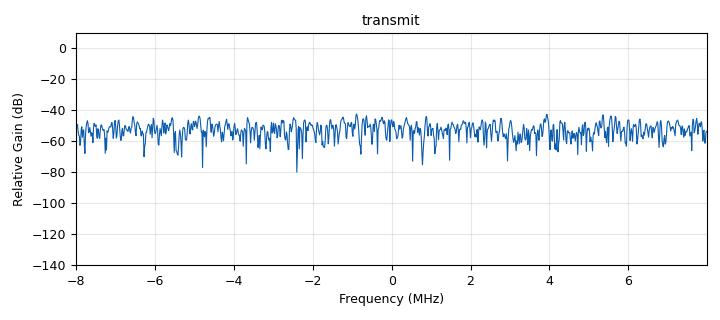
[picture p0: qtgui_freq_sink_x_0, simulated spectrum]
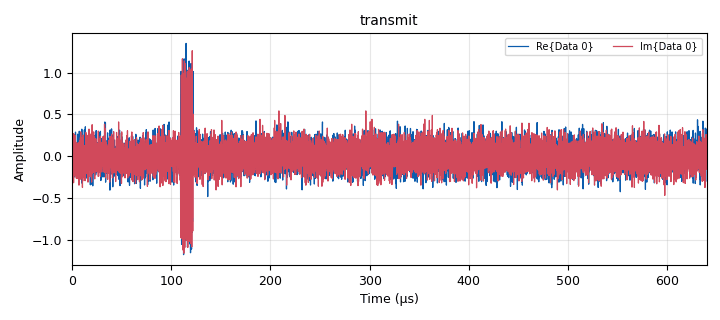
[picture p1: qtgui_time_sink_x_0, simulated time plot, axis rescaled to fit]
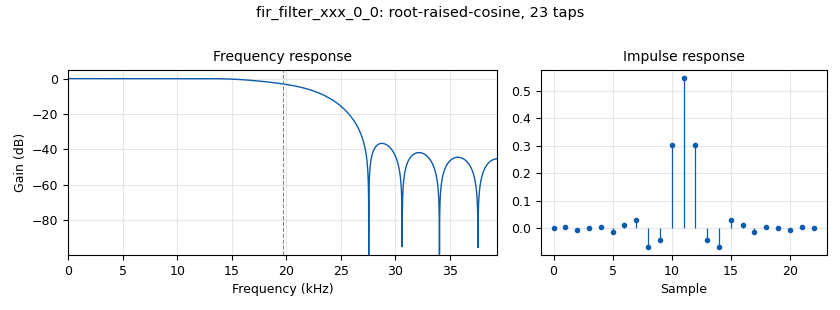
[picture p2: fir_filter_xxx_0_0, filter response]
options:
  parameters:
    author: zhouzinan
    generate_options: qt_gui
    id: mod_pulse_am
    output_language: python
    title: mod_pulse_am
  states: {}

blocks:
- name: RRC_0
  id: variable_rrc_filter_taps
  parameters:
    alpha: '0.35'
    gain: '1.0'
    ntaps: 11*sps
    samp_rate: 1/pw
    sym_rate: 1/pw/2
  states: {}
- name: SNR
  id: variable_qtgui_range
  parameters:
    gui_hint: 0,0
    start: '-5'
    step: '1'
    stop: '15'
    value: '15'
  states: {}
- name: carrier_freq
  id: variable
  parameters:
    value: 1e6
  states: {}
- name: device
  id: variable
  parameters:
    value: '"device_4"'
  states: {}
- name: gain_range
  id: variable_qtgui_range
  parameters:
    gui_hint: 3,0
    start: '0'
    step: '10'
    stop: '90'
    value: '40'
  states: {state: disabled}
- name: mod_freq
  id: variable
  parameters:
    value: 10e3
  states: {}
- name: noise_power
  id: variable
  parameters:
    value: signal_power/pow(10, SNR/10)
  states: {}
- name: pri
  id: variable_qtgui_range
  parameters:
    gui_hint: 1,0
    start: '0'
    step: '10e-6'
    stop: '2100e-6'
    value: '1050e-6'
  states: {}
- name: pw
  id: variable_qtgui_range
  parameters:
    gui_hint: 2,0
    start: '0'
    step: '1e-6'
    stop: '25.4e-6'
    value: '12.7e-6'
  states: {}
- name: rf_freq
  id: variable
  parameters:
    value: 330e6
  states: {}
- name: rf_freq_0
  id: variable
  parameters:
    value: 230e6
  states: {}
- name: rf_freq_1
  id: variable
  parameters:
    value: 430e6
  states: {}
- name: rf_slider
  id: variable_qtgui_range
  parameters:
    start: 230e6
    step: 100e6
    stop: 430e6
    value: 230e6
  states: {}
- name: samp_rate
  id: variable
  parameters:
    value: 16e6
  states: {}
- name: signal_power
  id: variable
  parameters:
    value: '0.5'
  states: {}
- name: sps
  id: variable
  parameters:
    value: '2'
  states: {}
- name: vary
  id: variable
  parameters:
    value: blocks.vector_source_f(np.hstack((np.zeros(int(pw*samp_rate)), np.zeros(int((pri-pw)*samp_rate)), np.ones(int(pw*samp_rate)), np.zeros(int((pri-pw)*samp_rate)), np.ones(int(pw*samp_rate))*2, np.zeros(int((pri-pw)*samp_rate)))), True, 1, [])
  states: {}
- name: analog_agc_xx_0
  id: analog_agc_xx
  parameters:
    gain: '1.0'
    max_gain: '65536'
    rate: '1e-4'
    reference: '1.0'
    type: complex
  states: {state: disabled}
- name: analog_sig_source_x_0
  id: analog_sig_source_x
  parameters:
    amp: pow(2*signal_power, 1/2)
    freq: carrier_freq
    offset: '0'
    phase: '0'
    samp_rate: samp_rate
    type: complex
    waveform: analog.GR_COS_WAVE
  states: {}
- name: blocks_complex_to_float_0
  id: blocks_complex_to_float
  parameters: {}
  states: {}
- name: blocks_file_sink_0
  id: blocks_file_sink
  parameters:
    file: '"D:/GNUradio/data/20230731/delay-0"'
    type: complex
  states: {state: disabled}
- name: blocks_float_to_complex_0
  id: blocks_float_to_complex
  parameters: {}
  states: {}
- name: blocks_head_0
  id: blocks_head
  parameters:
    num_items: int(samp_rate/10)
    type: complex
  states: {state: disabled}
- name: blocks_multiply_const_vxx_0
  id: blocks_multiply_const_vxx
  parameters:
    const: 1/2
    type: complex
  states: {state: disabled}
- name: blocks_multiply_xx_0
  id: blocks_multiply_xx
  parameters:
    type: float
  states: {}
- name: blocks_multiply_xx_0_0
  id: blocks_multiply_xx
  parameters:
    type: float
  states: {}
- name: blocks_selector_0
  id: blocks_selector
  parameters:
    enabled: 'True'
    input_index: '0'
    num_inputs: '1'
    num_outputs: '1'
    output_index: '0'
    showports: 'False'
    type: complex
  states: {}
- name: blocks_skiphead_0
  id: blocks_skiphead
  parameters:
    num_items: int(samp_rate/5)
    type: complex
  states: {state: disabled}
- name: blocks_vector_source_x_0_0
  id: blocks_vector_source_x
  parameters:
    repeat: 'True'
    type: float
    vector: np.hstack((np.ones(int(pw*samp_rate)), np.zeros(int((pri-pw)*samp_rate))))
  states: {}
- name: blocks_vector_source_x_0_0_0
  id: blocks_vector_source_x
  parameters:
    repeat: 'True'
    type: float
    vector: np.hstack((np.zeros(int(pw*samp_rate)), np.zeros(int((pri-pw)*samp_rate)), np.ones(int(pw*samp_rate)), np.zeros(int((pri-pw)*samp_rate)), np.ones(int(pw*samp_rate))*2, np.zeros(int((pri-pw)*samp_rate))))
  states: {}
- name: channels_channel_model_0
  id: channels_channel_model
  parameters:
    epsilon: '1.0'
    freq_offset: '0.0'
    noise_voltage: pow(noise_power*2, 1/2)
    seed: '0'
    taps: '1'
  states: {}
- name: device_0
  id: parameter
  parameters:
    value: '"232057"'
  states: {state: disabled}
- name: device_1
  id: parameter
  parameters:
    value: '"8243c3"'
  states: {state: disabled}
- name: device_2
  id: parameter
  parameters:
    value: '"90a7c7"'
  states: {state: disabled}
- name: device_3
  id: parameter
  parameters:
    value: '"4a0a4f"'
  states: {state: disabled}
- name: device_4
  id: parameter
  parameters:
    value: '"24644f"'
  states: {}
- name: device_5
  id: parameter
  parameters:
    value: '"6f2e4f"'
  states: {state: disabled}
- name: device_6
  id: parameter
  parameters:
    value: '"53454f"'
  states: {state: disabled}
- name: fir_filter_xxx_0_0
  id: fir_filter_xxx
  parameters:
    decim: '1'
    taps: RRC_0
    type: fff
  states: {}
- name: gpredict_MsgPairToVar_0
  id: gpredict_MsgPairToVar
  parameters:
    target: qqqq
  states: {}
- name: gpredict_VarToMsg_0
  id: gpredict_VarToMsg
  parameters:
    msgname: freq
    target: freq
  states: {}
- name: import_0
  id: import
  parameters:
    imports: import numpy as np
  states: {}
- name: osmosdr_sink_0
  id: osmosdr_sink
  parameters:
    args: '"hackrf={}".format(eval(device))'
    bb_gain0: '20'
    freq0: rf_slider
    gain0: '11'
    if_gain0: '47'
    sample_rate: samp_rate
    sync: sync
    type: fc32
  states: {}
- name: qtgui_freq_sink_x_0
  id: qtgui_freq_sink_x
  parameters:
    bw: samp_rate
    fc: '0'
    fftsize: '1024'
    name: '"transmit"'
    type: complex
  states: {}
- name: qtgui_freq_sink_x_1
  id: qtgui_freq_sink_x
  parameters:
    bw: samp_rate
    fc: '0'
    fftsize: 1024*4
    name: '"receive"'
    type: complex
  states: {state: disabled}
- name: qtgui_time_sink_x_0
  id: qtgui_time_sink_x
  parameters:
    name: '"transmit"'
    size: '10240'
    srate: samp_rate
    type: complex
  states: {}
- name: qtgui_time_sink_x_1
  id: qtgui_time_sink_x
  parameters:
    name: '"receive"'
    size: '10240'
    srate: samp_rate
    type: complex
  states: {state: disabled}
- name: qtgui_time_sink_x_1_0
  id: qtgui_time_sink_x
  parameters:
    name: '"receive"'
    size: '10240'
    srate: samp_rate
    type: complex
  states: {state: disabled}
- name: qtgui_waterfall_sink_x_0
  id: qtgui_waterfall_sink_x
  parameters:
    bw: samp_rate
    fc: '0'
    fftsize: '1024'
    name: '"receive"'
    type: complex
  states: {state: disabled}
- name: uhd_usrp_source_0
  id: uhd_usrp_source
  parameters:
    ant0: TX/RX
    center_freq0: rf_freq
    dev_addr: '"recv_frame_size=65535,num_recv_frames=128"'
    dev_args: '""'
    gain0: gain_range
    samp_rate: samp_rate
    sync: sync
    type: fc32
  states: {state: disabled}

connections:
- [analog_agc_xx_0, '0', blocks_multiply_const_vxx_0, '0']
- [analog_sig_source_x_0, '0', blocks_complex_to_float_0, '0']
- [blocks_complex_to_float_0, '0', blocks_multiply_xx_0, '0']
- [blocks_complex_to_float_0, '1', blocks_multiply_xx_0_0, '0']
- [blocks_float_to_complex_0, '0', channels_channel_model_0, '0']
- [blocks_head_0, '0', blocks_file_sink_0, '0']
- [blocks_multiply_const_vxx_0, '0', blocks_skiphead_0, '0']
- [blocks_multiply_const_vxx_0, '0', qtgui_freq_sink_x_1, '0']
- [blocks_multiply_const_vxx_0, '0', qtgui_time_sink_x_1, '0']
- [blocks_multiply_const_vxx_0, '0', qtgui_waterfall_sink_x_0, '0']
- [blocks_multiply_xx_0, '0', blocks_float_to_complex_0, '0']
- [blocks_multiply_xx_0_0, '0', blocks_float_to_complex_0, '1']
- [blocks_selector_0, '0', osmosdr_sink_0, '0']
- [blocks_skiphead_0, '0', blocks_head_0, '0']
- [blocks_vector_source_x_0_0, '0', fir_filter_xxx_0_0, '0']
- [channels_channel_model_0, '0', blocks_selector_0, '0']
- [channels_channel_model_0, '0', qtgui_freq_sink_x_0, '0']
- [channels_channel_model_0, '0', qtgui_time_sink_x_0, '0']
- [fir_filter_xxx_0_0, '0', blocks_multiply_xx_0, '1']
- [fir_filter_xxx_0_0, '0', blocks_multiply_xx_0_0, '1']
- [uhd_usrp_source_0, '0', analog_agc_xx_0, '0']
- [uhd_usrp_source_0, '0', qtgui_time_sink_x_1_0, '0']

metadata:
  file_format: 1
  grc_version: 3.10.6.0
